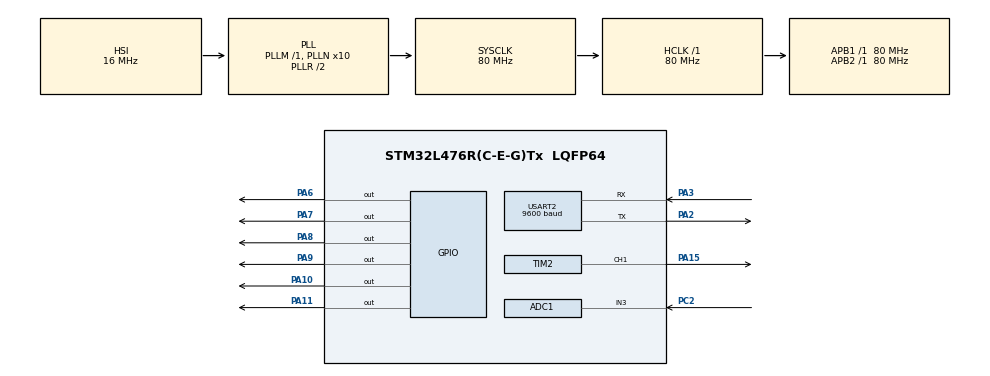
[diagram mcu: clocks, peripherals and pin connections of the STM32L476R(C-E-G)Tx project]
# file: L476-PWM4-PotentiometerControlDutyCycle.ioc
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ADC1.Channel-0\#ChannelRegularConversion=ADC_CHANNEL_3
ADC1.ContinuousConvMode=ENABLE
ADC1.NbrOfConversionFlag=1
ADC1.OffsetNumber-0\#ChannelRegularConversion=ADC_OFFSET_NONE
ADC1.Overrun=ADC_OVR_DATA_OVERWRITTEN
ADC1.Rank-0\#ChannelRegularConversion=1
ADC1.SamplingTime-0\#ChannelRegularConversion=ADC_SAMPLETIME_12CYCLES_5
ADC1.master=1
Mcu.Family=STM32L4
Mcu.Name=STM32L476R(C-E-G)Tx
Mcu.Package=LQFP64
NVIC.PriorityGroup=NVIC_PRIORITYGROUP_4
PA10.Signal=GPIO_Output
PA11.Signal=GPIO_Output
PA15\ (JTDI).Signal=S_TIM2_CH1
PA2.Mode=Asynchronous
PA2.Signal=USART2_TX
PA3.Mode=Asynchronous
PA3.Signal=USART2_RX
PA6.Signal=GPIO_Output
PA7.Signal=GPIO_Output
PA8.Signal=GPIO_Output
PA9.Signal=GPIO_Output
PC2.Signal=ADCx_IN3
ProjectManager.HeapSize=0x200
ProjectManager.StackSize=0x400
ProjectManager.TargetToolchain=STM32CubeIDE
RCC.ADCFreq_Value=64000000
RCC.AHBFreq_Value=80000000
RCC.APB1Freq_Value=80000000
RCC.APB1TimFreq_Value=80000000
RCC.APB2Freq_Value=80000000
RCC.APB2TimFreq_Value=80000000
RCC.CortexFreq_Value=80000000
RCC.HCLKFreq_Value=80000000
RCC.HSE_VALUE=8000000
RCC.HSI_VALUE=16000000
RCC.LSE_VALUE=32768
RCC.MSI_VALUE=4000000
RCC.PLLN=10
RCC.PLLSourceVirtual=RCC_PLLSOURCE_HSI
RCC.PREFETCH_ENABLE=1
RCC.SYSCLKFreq_VALUE=80000000
RCC.SYSCLKSource=RCC_SYSCLKSOURCE_PLLCLK
RCC.USBFreq_Value=64000000
RCC.VCOOutputFreq_Value=160000000
SH.ADCx_IN3.0=ADC1_IN3,IN3-Single-Ended
SH.S_TIM2_CH1.0=TIM2_CH1,PWM Generation1 CH1
TIM2.AutoReloadPreload=TIM_AUTORELOAD_PRELOAD_ENABLE
TIM2.Channel-PWM\ Generation1\ CH1=TIM_CHANNEL_1
TIM2.Period=999
TIM2.Prescaler=79
USART2.BaudRate=9600
USART2.VirtualMode-Asynchronous=VM_ASYNC
VP_TIM2_VS_ClockSourceINT.Mode=Internal
board=NUCLEO-L476RG

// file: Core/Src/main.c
/* USER CODE BEGIN Header */
/**
  ******************************************************************************
  * @file           : main.c
  * @brief          : Main program body
  ******************************************************************************
  * @attention
  *
  * Copyright (c) 2026 STMicroelectronics.
  * All rights reserved.
  *
  * This software is licensed under terms that can be found in the LICENSE file
  * in the root directory of this software component.
  * If no LICENSE file comes with this software, it is provided AS-IS.
  *
  ******************************************************************************
  */
/* USER CODE END Header */
#include "main.h"

/* USER CODE BEGIN Includes */
#include "lcd.h"
#include "stdio.h"
#include "string.h"
#include "stdlib.h"
/* USER CODE END Includes */

ADC_HandleTypeDef hadc1;

TIM_HandleTypeDef htim2;

UART_HandleTypeDef huart2;

void SystemClock_Config(void);
static void MX_GPIO_Init(void);
static void MX_ADC1_Init(void);
static void MX_TIM2_Init(void);
static void MX_USART2_UART_Init(void);

/* USER CODE BEGIN 0 */
void DutyCycle(float Duty, int Channel){
	uint16_t AutoReload, SetDutyCycle;
	AutoReload = __HAL_TIM_GET_AUTORELOAD(&htim2); //read ARR
	SetDutyCycle=AutoReload * Duty/100.0;
	__HAL_TIM_SET_COMPARE(&htim2, Channel, SetDutyCycle); //set CCR
}
/* USER CODE END 0 */

int main(void)
{

  /* MCU Configuration--------------------------------------------------------*/

  /* Reset of all peripherals, Initializes the Flash interface and the Systick. */
  HAL_Init();

  /* Configure the system clock */
  SystemClock_Config();

  /* Initialize all configured peripherals */
  MX_GPIO_Init();
  MX_ADC1_Init();
  MX_TIM2_Init();
  MX_USART2_UART_Init();
  /* USER CODE BEGIN 2 */
  lcd_Init();
  lcd_Clear();
  /* USER CODE END 2 */

  /* Infinite loop */
  /* USER CODE BEGIN WHILE */
  float mv; // store the converted data in millvolts
  char buff[32]; //string buffer
  float temperature;
  uint32_t adcResult;
  float duty;
  HAL_ADC_Start(&hadc1);
  HAL_TIM_PWM_Start(&htim2, TIM_CHANNEL_1);
  char Text2Display[60]="***System Start***\n\r";
  HAL_UART_Transmit(&huart2, (uint8_t*) Text2Display, strlen(Text2Display), HAL_MAX_DELAY);
  while (1)
  {
	  HAL_ADC_PollForConversion(&hadc1, 100);
	  adcResult=HAL_ADC_GetValue(&hadc1);

	  mv=((float)adcResult)*3300.0/4095.0;
	  temperature=(mv-500.0)/10.0;

	  //display temp value on LCD
	  lcd_Goto(0,0);
	  lcd_Puts("TMP:");
//	  int mv_int = (int)(mv* 100);
//	  sprintf(buff, "%d.%02d", mv_int/100, mv_int%100);
	  sprintf(buff, "%6.2f %cC ", temperature, 0xDF);
	  lcd_Puts(buff);

	  //display temp to Laptop by UART

	  snprintf(buff, sizeof(buff), "%.2f degC", temperature);
	  snprintf(Text2Display, sizeof(Text2Display), "\n\r%s  ", buff);  //move to the next line
	  HAL_UART_Transmit(&huart2, (uint8_t*) Text2Display, strlen(Text2Display), HAL_MAX_DELAY);

	  //update duty cycle
	  int int_temp=(int)(temperature);
	  if(int_temp < 25){
	      duty = 10;
	  }
	  else if(int_temp >= 25 && int_temp < 45){
	      duty = 50;
	  }
	  else{
	      duty = 100;
	  }
	  DutyCycle(duty, TIM_CHANNEL_1);

	  //display duty value on LCD
	  lcd_Goto(0,1);
	  lcd_Puts("duty:");
//	  duty=100.0 * adcResult/4095.0;
	  int d_int = (int)duty;
	  int d_dec = (int)((duty - d_int) * 100);
	  sprintf(buff, "%d.%02d", d_int,d_dec);
	  lcd_Puts(buff);

	  //display temp to Laptop by UART
	  sprintf(buff, "duty : %d.%02d \n\r ", d_int, d_dec);
	  sprintf(Text2Display, "%s",buff); //move to the next line
	  HAL_UART_Transmit(&huart2, (uint8_t*) Text2Display, strlen(Text2Display), HAL_MAX_DELAY);

	  HAL_Delay(2000);
    /* USER CODE END WHILE */

  }
}

void SystemClock_Config(void)
{
  RCC_OscInitTypeDef RCC_OscInitStruct = {0};
  RCC_ClkInitTypeDef RCC_ClkInitStruct = {0};

  /** Configure the main internal regulator output voltage
  */
  if (HAL_PWREx_ControlVoltageScaling(PWR_REGULATOR_VOLTAGE_SCALE1) != HAL_OK)
  {
    Error_Handler();
  }

  /** Initializes the RCC Oscillators according to the specified parameters
  * in the RCC_OscInitTypeDef structure.
  */
  RCC_OscInitStruct.OscillatorType = RCC_OSCILLATORTYPE_HSI;
  RCC_OscInitStruct.HSIState = RCC_HSI_ON;
  RCC_OscInitStruct.HSICalibrationValue = RCC_HSICALIBRATION_DEFAULT;
  RCC_OscInitStruct.PLL.PLLState = RCC_PLL_ON;
  RCC_OscInitStruct.PLL.PLLSource = RCC_PLLSOURCE_HSI;
  RCC_OscInitStruct.PLL.PLLM = 1;
  RCC_OscInitStruct.PLL.PLLN = 10;
  RCC_OscInitStruct.PLL.PLLP = RCC_PLLP_DIV7;
  RCC_OscInitStruct.PLL.PLLQ = RCC_PLLQ_DIV2;
  RCC_OscInitStruct.PLL.PLLR = RCC_PLLR_DIV2;
  if (HAL_RCC_OscConfig(&RCC_OscInitStruct) != HAL_OK)
  {
    Error_Handler();
  }

  /** Initializes the CPU, AHB and APB buses clocks
  */
  RCC_ClkInitStruct.ClockType = RCC_CLOCKTYPE_HCLK|RCC_CLOCKTYPE_SYSCLK
                              |RCC_CLOCKTYPE_PCLK1|RCC_CLOCKTYPE_PCLK2;
  RCC_ClkInitStruct.SYSCLKSource = RCC_SYSCLKSOURCE_PLLCLK;
  RCC_ClkInitStruct.AHBCLKDivider = RCC_SYSCLK_DIV1;
  RCC_ClkInitStruct.APB1CLKDivider = RCC_HCLK_DIV1;
  RCC_ClkInitStruct.APB2CLKDivider = RCC_HCLK_DIV1;

  if (HAL_RCC_ClockConfig(&RCC_ClkInitStruct, FLASH_LATENCY_4) != HAL_OK)
  {
    Error_Handler();
  }
}

static void MX_ADC1_Init(void)
{

  ADC_MultiModeTypeDef multimode = {0};
  ADC_ChannelConfTypeDef sConfig = {0};

  /** Common config
  */
  hadc1.Instance = ADC1;
  hadc1.Init.ClockPrescaler = ADC_CLOCK_ASYNC_DIV1;
  hadc1.Init.Resolution = ADC_RESOLUTION_12B;
  hadc1.Init.DataAlign = ADC_DATAALIGN_RIGHT;
  hadc1.Init.ScanConvMode = ADC_SCAN_DISABLE;
  hadc1.Init.EOCSelection = ADC_EOC_SINGLE_CONV;
  hadc1.Init.LowPowerAutoWait = DISABLE;
  hadc1.Init.ContinuousConvMode = ENABLE;
  hadc1.Init.NbrOfConversion = 1;
  hadc1.Init.DiscontinuousConvMode = DISABLE;
  hadc1.Init.ExternalTrigConv = ADC_SOFTWARE_START;
  hadc1.Init.ExternalTrigConvEdge = ADC_EXTERNALTRIGCONVEDGE_NONE;
  hadc1.Init.DMAContinuousRequests = DISABLE;
  hadc1.Init.Overrun = ADC_OVR_DATA_OVERWRITTEN;
  hadc1.Init.OversamplingMode = DISABLE;
  if (HAL_ADC_Init(&hadc1) != HAL_OK)
  {
    Error_Handler();
  }

  /** Configure the ADC multi-mode
  */
  multimode.Mode = ADC_MODE_INDEPENDENT;
  if (HAL_ADCEx_MultiModeConfigChannel(&hadc1, &multimode) != HAL_OK)
  {
    Error_Handler();
  }

  /** Configure Regular Channel
  */
  sConfig.Channel = ADC_CHANNEL_3;
  sConfig.Rank = ADC_REGULAR_RANK_1;
  sConfig.SamplingTime = ADC_SAMPLETIME_12CYCLES_5;
  sConfig.SingleDiff = ADC_SINGLE_ENDED;
  sConfig.OffsetNumber = ADC_OFFSET_NONE;
  sConfig.Offset = 0;
  if (HAL_ADC_ConfigChannel(&hadc1, &sConfig) != HAL_OK)
  {
    Error_Handler();
  }

}

static void MX_TIM2_Init(void)
{

  TIM_ClockConfigTypeDef sClockSourceConfig = {0};
  TIM_MasterConfigTypeDef sMasterConfig = {0};
  TIM_OC_InitTypeDef sConfigOC = {0};

  htim2.Instance = TIM2;
  htim2.Init.Prescaler = 79;
  htim2.Init.CounterMode = TIM_COUNTERMODE_UP;
  htim2.Init.Period = 999;
  htim2.Init.ClockDivision = TIM_CLOCKDIVISION_DIV1;
  htim2.Init.AutoReloadPreload = TIM_AUTORELOAD_PRELOAD_ENABLE;
  if (HAL_TIM_Base_Init(&htim2) != HAL_OK)
  {
    Error_Handler();
  }
  sClockSourceConfig.ClockSource = TIM_CLOCKSOURCE_INTERNAL;
  if (HAL_TIM_ConfigClockSource(&htim2, &sClockSourceConfig) != HAL_OK)
  {
    Error_Handler();
  }
  if (HAL_TIM_PWM_Init(&htim2) != HAL_OK)
  {
    Error_Handler();
  }
  sMasterConfig.MasterOutputTrigger = TIM_TRGO_RESET;
  sMasterConfig.MasterSlaveMode = TIM_MASTERSLAVEMODE_DISABLE;
  if (HAL_TIMEx_MasterConfigSynchronization(&htim2, &sMasterConfig) != HAL_OK)
  {
    Error_Handler();
  }
  sConfigOC.OCMode = TIM_OCMODE_PWM1;
  sConfigOC.Pulse = 0;
  sConfigOC.OCPolarity = TIM_OCPOLARITY_HIGH;
  sConfigOC.OCFastMode = TIM_OCFAST_DISABLE;
  if (HAL_TIM_PWM_ConfigChannel(&htim2, &sConfigOC, TIM_CHANNEL_1) != HAL_OK)
  {
    Error_Handler();
  }
  HAL_TIM_MspPostInit(&htim2);

}

static void MX_USART2_UART_Init(void)
{

  huart2.Instance = USART2;
  huart2.Init.BaudRate = 9600;
  huart2.Init.WordLength = UART_WORDLENGTH_8B;
  huart2.Init.StopBits = UART_STOPBITS_1;
  huart2.Init.Parity = UART_PARITY_NONE;
  huart2.Init.Mode = UART_MODE_TX_RX;
  huart2.Init.HwFlowCtl = UART_HWCONTROL_NONE;
  huart2.Init.OverSampling = UART_OVERSAMPLING_16;
  huart2.Init.OneBitSampling = UART_ONE_BIT_SAMPLE_DISABLE;
  huart2.AdvancedInit.AdvFeatureInit = UART_ADVFEATURE_NO_INIT;
  if (HAL_UART_Init(&huart2) != HAL_OK)
  {
    Error_Handler();
  }

}

static void MX_GPIO_Init(void)
{
  GPIO_InitTypeDef GPIO_InitStruct = {0};

  /* GPIO Ports Clock Enable */
  __HAL_RCC_GPIOC_CLK_ENABLE();
  __HAL_RCC_GPIOA_CLK_ENABLE();

  /*Configure GPIO pin Output Level */
  HAL_GPIO_WritePin(GPIOA, GPIO_PIN_6|GPIO_PIN_7|GPIO_PIN_8|GPIO_PIN_9
                          |GPIO_PIN_10|GPIO_PIN_11, GPIO_PIN_RESET);

  /*Configure GPIO pins : PA6 PA7 PA8 PA9
                           PA10 PA11 */
  GPIO_InitStruct.Pin = GPIO_PIN_6|GPIO_PIN_7|GPIO_PIN_8|GPIO_PIN_9
                          |GPIO_PIN_10|GPIO_PIN_11;
  GPIO_InitStruct.Mode = GPIO_MODE_OUTPUT_PP;
  GPIO_InitStruct.Pull = GPIO_NOPULL;
  GPIO_InitStruct.Speed = GPIO_SPEED_FREQ_LOW;
  HAL_GPIO_Init(GPIOA, &GPIO_InitStruct);

}

void Error_Handler(void)
{
  __disable_irq();
  while (1)
  {
  }
}
